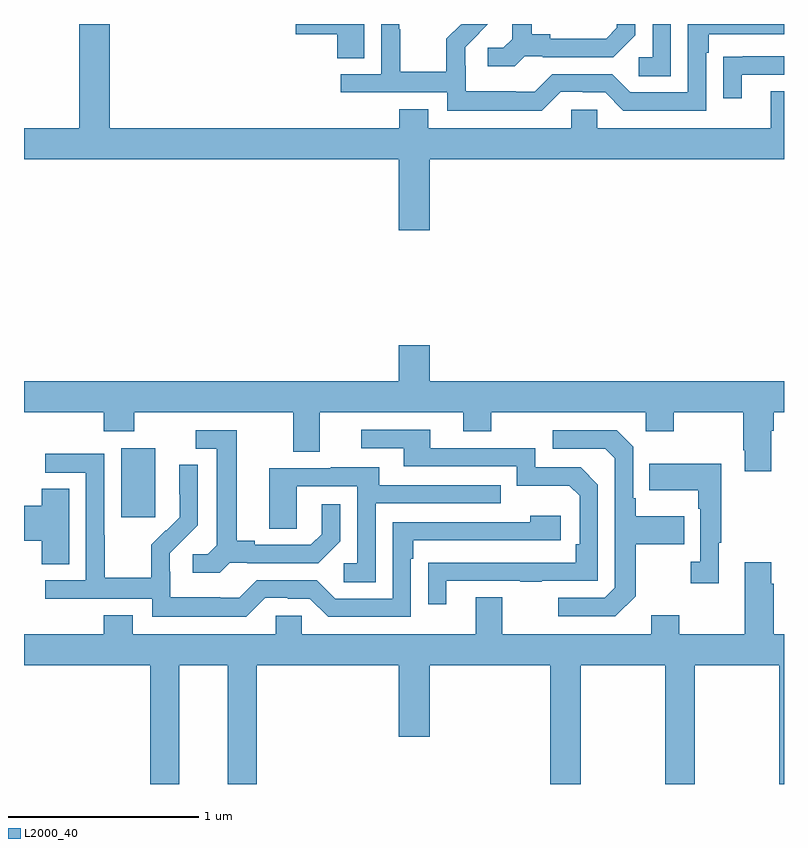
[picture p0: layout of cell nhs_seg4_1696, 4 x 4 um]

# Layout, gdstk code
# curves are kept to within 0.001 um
import gdstk
lib = gdstk.Library(unit=1e-6, precision=1e-09)
def R(c, l, rs):  # rectangles x0, y0, x1, y1
    for r in rs: c.add(gdstk.rectangle(r[:2], r[2:], *l))
def P(c, l, *ps):  # polygons
    for p in ps: c.add(gdstk.Polygon(p, *l))
L2000_40 = (2000, 40)

nhs_seg4_1696 = lib.new_cell('nhs_seg4_1696')
R(nhs_seg4_1696, L2000_40, [(199.511,760.305,199.69,760.666)])
P(nhs_seg4_1696, L2000_40, [(202.404,762.9),(202.308,762.9),(202.308,762.726),(202.236,762.726),(202.236,762.625),(202.404,762.625)],
  [(200.791,762.9),(200.43,762.9),(200.43,762.845),(200.648,762.845),(200.648,762.721),(200.791,762.721)],
  [(201.825,762.543),(201.941,762.543),(201.941,762.54),(202.059,762.54),(202.155,762.444),(202.59,762.444),(202.59,762.749),(202.603,762.749),(202.603,762.846),(203,762.846),(203,762.9),(202.494,762.9),(202.494,762.54),(202.191,762.54),(202.095,762.636),(201.78,762.636),(201.687,762.543),(201.587,762.543),(201.587,762.547),(201.324,762.547),(201.324,762.681),(201.322,762.681),(201.322,762.778),(201.442,762.9),(201.306,762.9),(201.303,762.897),(201.3,762.9),(201.223,762.823),(201.223,762.649),(200.979,762.649),(200.979,762.872),(200.976,762.872),(200.976,762.9),(200.88,762.9),(200.88,762.636),(200.667,762.636),(200.667,762.54),(201.228,762.54),(201.228,762.443),(201.725,762.443)],
  [(201.136,762.188),(203,762.188),(203,762.547),(202.931,762.547),(202.931,762.352),(202.017,762.352),(202.017,762.45),(201.879,762.45),(201.879,762.352),(201.127,762.352),(201.127,762.451),(200.975,762.451),(200.975,762.352),(199.451,762.352),(199.451,762.9),(199.291,762.9),(199.291,762.352),(199,762.352),(199,762.188),(200.972,762.188),(200.972,761.814),(201.136,761.814)],
  [(201.636,762.729),(201.73,762.729),(201.73,762.726),(202.102,762.726),(202.218,762.842),(202.218,762.9),(202.121,762.9),(202.121,762.879),(202.064,762.822),(201.769,762.822),(201.769,762.845),(201.673,762.845),(201.673,762.9),(201.569,762.9),(201.569,762.821),(201.522,762.774),(201.441,762.774),(201.441,762.677),(201.584,762.677)],
  [(202.777,762.633),(203,762.633),(203,762.729),(202.783,762.729),(202.783,762.728),(202.681,762.728),(202.681,762.51),(202.777,762.51)],
  [(202.933,760.76),(202.946,760.76),(202.946,760.856),(203,760.856),(203,761.02),(201.136,761.02),(201.136,761.209),(200.972,761.209),(200.972,761.02),(199,761.02),(199,760.856),(199.421,760.856),(199.421,760.757),(199.581,760.757),(199.581,760.856),(200.417,760.856),(200.417,760.648),(200.557,760.648),(200.557,760.856),(201.311,760.856),(201.311,760.757),(201.459,760.757),(201.459,760.856),(202.272,760.856),(202.272,760.757),(202.419,760.757),(202.419,760.856),(202.786,760.856),(202.786,760.657),(202.793,760.657),(202.793,760.545),(202.933,760.545)],
  [(201.223,759.969),(201.613,759.969),(201.613,759.964),(201.725,759.964),(201.725,759.969),(202.02,759.969),(202.02,760.476),(201.93,760.566),(201.69,760.566),(201.69,760.668),(201.139,760.668),(201.139,760.764),(200.775,760.764),(200.775,760.668),(200.999,760.668),(200.999,760.572),(201.594,760.572),(201.594,760.469),(201.871,760.469),(201.924,760.416),(201.924,760.162),(201.904,760.162),(201.904,760.065),(201.127,760.064),(201.127,759.846),(201.223,759.846)],
  [(202.219,759.889),(202.219,760.162),(202.475,760.162),(202.475,760.309),(202.219,760.309),(202.219,760.405),(202.206,760.405),(202.206,760.674),(202.119,760.761),(201.783,760.761),(201.783,760.665),(202.059,760.665),(202.11,760.614),(202.11,759.933),(202.056,759.879),(201.813,759.879),(201.813,759.783),(202.113,759.783)],
  [(200.082,760.065),(200.176,760.065),(200.176,760.062),(200.548,760.062),(200.664,760.178),(200.664,760.372),(200.567,760.372),(200.567,760.215),(200.51,760.158),(200.215,760.158),(200.215,760.181),(200.119,760.181),(200.119,760.761),(199.905,760.761),(199.905,760.665),(200.015,760.665),(200.015,760.157),(199.968,760.11),(199.887,760.11),(199.887,760.013),(200.03,760.013)],
  [(200.271,759.879),(200.387,759.879),(200.387,759.876),(200.505,759.876),(200.601,759.78),(201.036,759.78),(201.036,760.085),(201.049,760.085),(201.049,760.182),(201.826,760.182),(201.826,760.312),(201.665,760.312),(201.665,760.278),(200.94,760.278),(200.94,759.876),(200.637,759.876),(200.541,759.972),(200.226,759.972),(200.133,759.879),(200.033,759.879),(200.033,759.883),(199.77,759.883),(199.77,760.017),(199.768,760.017),(199.768,760.114),(199.914,760.262),(199.914,760.58),(199.818,760.58),(199.818,760.426),(199.82,760.426),(199.82,760.304),(199.749,760.233),(199.746,760.236),(199.669,760.159),(199.669,759.985),(199.425,759.985),(199.425,760.208),(199.422,760.208),(199.422,760.638),(199.113,760.638),(199.113,760.539),(199.326,760.539),(199.326,759.972),(199.113,759.972),(199.113,759.876),(199.674,759.876),(199.674,759.779),(200.171,759.779)],
  [(202.657,760.169),(202.669,760.169),(202.669,760.585),(202.291,760.585),(202.291,760.445),(202.548,760.445),(202.548,760.349),(202.56,760.349),(202.56,760.07),(202.509,760.07),(202.509,759.957),(202.657,759.957)],
  [(200.85,760.377),(201.509,760.377),(201.509,760.473),(200.869,760.473),(200.869,760.567),(200.615,760.567),(200.615,760.563),(200.291,760.563),(200.291,760.243),(200.436,760.243),(200.436,760.467),(200.754,760.467),(200.754,760.062),(200.682,760.062),(200.682,759.961),(200.85,759.961)],
  [(199.237,760.454),(199.094,760.454),(199.094,760.364),(199,760.364),(199,760.181),(199.094,760.181),(199.094,760.057),(199.237,760.057)],
  [(199.816,759.524),(200.072,759.524),(200.072,758.9),(200.225,758.9),(200.225,759.524),(200.972,759.524),(200.972,759.15),(201.136,759.15),(201.136,759.524),(201.77,759.524),(201.77,758.9),(201.93,758.9),(201.93,759.524),(202.375,759.524),(202.375,758.9),(202.53,758.9),(202.53,759.524),(202.975,759.524),(202.975,758.9),(203,758.9),(203,759.688),(202.946,759.688),(202.946,759.953),(202.933,759.953),(202.933,760.066),(202.793,760.066),(202.793,759.688),(202.449,759.688),(202.449,759.787),(202.301,759.787),(202.301,759.688),(201.517,759.688),(201.517,759.883),(201.377,759.883),(201.377,759.688),(200.463,759.688),(200.463,759.786),(200.325,759.786),(200.325,759.688),(199.573,759.688),(199.573,759.787),(199.421,759.787),(199.421,759.688),(199,759.688),(199,759.524),(199.664,759.524),(199.664,758.9),(199.816,758.9)])

lib.write_gds('nhs_seg4_1696.gds')
